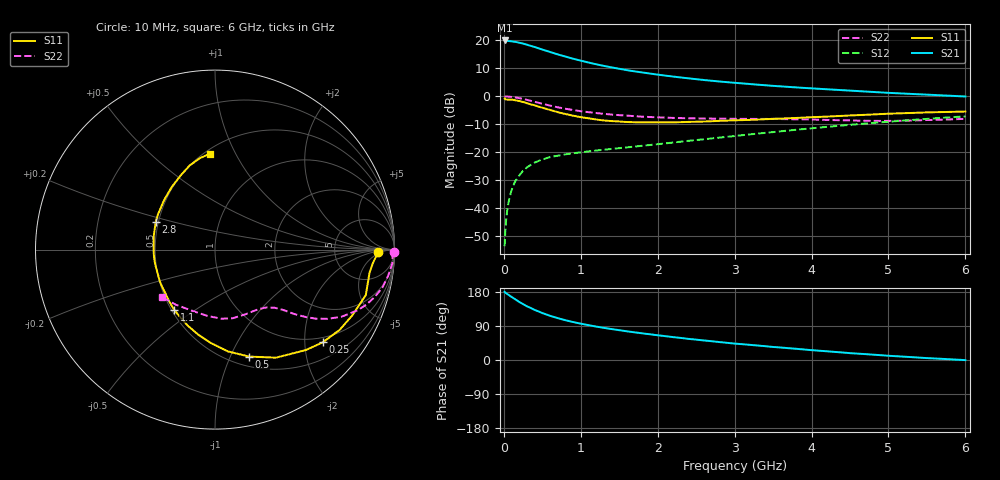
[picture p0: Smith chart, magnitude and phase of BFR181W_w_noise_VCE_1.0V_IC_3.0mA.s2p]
! Infineon Technologies  Discrete & RF Semiconductors
! BFR181W
! VCE =  1.0 V,  IC =  3.0 mA
! Common Emitter S-Parameters:  Jan 2017
# GHz  S  MA  R  50
!  f  S11  S21  S12  S22
! GHz  MAG  ANG  MAG  ANG  MAG  ANG  MAG  ANG
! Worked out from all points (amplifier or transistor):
!   77 points, 10 MHz to 6 GHz, reference 50 ohm
!   highest |S21| = 20.0 dB at 10 MHz (marker M1)
!   |S21| within 3 dB of that: start of sweep to 472.6 MHz
!   unconditionally stable (mu >= 1): 1.529 GHz to 3.968 GHz
!   at 130 MHz: K = 0.11, MSG = 25.5 dB, |S12| = -31.5 dB
!   at 2.2 GHz: K = 1.12, MAG = 9.7 dB, |S12| = -16.5 dB
!   at 6 GHz: K = 0.88, MSG = 3.5 dB, |S12| = -7.1 dB
!   lowest NFmin = 0.87 dB at 450 MHz
!   S11 on the Smith chart (normalised r, x): 10 MHz: 21, -3; 250 MHz: 0.87, -2.42; 500 MHz: 0.60, -1.18; 1.1 GHz: 0.52, -0.41; 2.8 GHz: 0.48, +0.17; 6 GHz: 0.53, +0.80
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0.01  0.9095 -0.9  9.962 179.8  0.0021 85.7  0.9982 -0.9
0.03  0.8794 -5.8  9.82 176.1  0.0062 87.6  0.9895 -2.5
0.07  0.8712 -11.7  9.711 170.7  0.0146 83.7  0.9842 -6.1
0.15  0.8487 -25.5  9.395 160.0  0.0306 75.9  0.9563 -12.8
0.2  0.826 -32.8  9.071 153.3  0.0384 72.7  0.9283 -16.5
0.25  0.7921 -40.7  8.757 147.4  0.0467 67.8  0.8984 -19.9
0.3  0.7546 -47.9  8.365 141.8  0.0535 64.6  0.8638 -23.0
0.4  0.6911 -60.6  7.621 132.1  0.0654 59.3  0.7984 -27.9
0.5  0.6252 -72.4  6.855 123.9  0.0744 55.0  0.736 -31.6
0.6  0.5715 -82.8  6.208 116.7  0.0818 52.2  0.6832 -34.3
0.7  0.5218 -92.4  5.616 110.5  0.0869 50.3  0.6373 -36.3
0.8  0.4832 -101.1  5.134 105.0  0.0919 48.9  0.6002 -37.8
0.9  0.4507 -109.5  4.699 100.2  0.096 48.0  0.5691 -39.1
1.1  0.4049 -124.4  4.021 92.0  0.1036 47.5  0.5213 -40.9
1.3  0.3701 -137.8  3.496 84.8  0.1109 47.6  0.4863 -42.7
1.5  0.3551 -149.9  3.106 78.7  0.1185 48.6  0.4605 -44.6
2.1  0.3415 -179.8  2.345 62.9  0.1444 51.8  0.4164 -52.2
2.8  0.3646 154.7  1.841 47.4  0.1827 54.1  0.3991 -63.8
3.1  0.3758 146.1  1.701 41.7  0.202 54.2  0.3954 -68.7
4.1  0.4288 122.7  1.362 24.5  0.2762 51.6  0.3822 -87.3
5.1  0.494 105.3  1.137 10.0  0.3605 45.1  0.3645 -114.0
6  0.5355 92.9  0.993 -0.3  0.4391 37.1  0.3962 -138.7
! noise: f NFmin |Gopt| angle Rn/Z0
0.45  0.87  0.47  17  0.27
0.9  0.93  0.42  32  0.26
1.9  1.34  0.24  80  0.21
2.4  1.55  0.21  94  0.23
